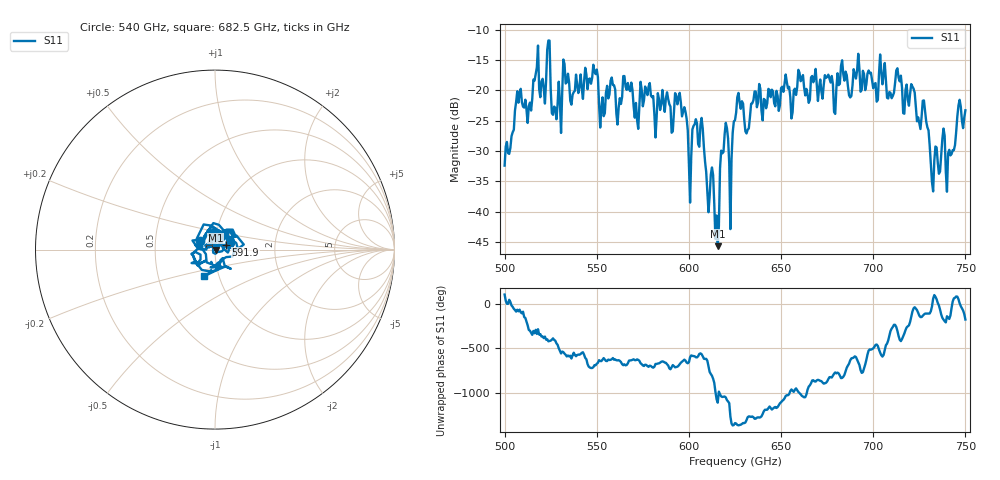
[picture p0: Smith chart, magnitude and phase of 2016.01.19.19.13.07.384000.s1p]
!Created with skrf (http://scikit-rf.org).
# GHz S RI R 50.0
!freq ReS11 ImS11
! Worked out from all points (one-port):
!   401 points, 500 GHz to 750 GHz, reference 50 ohm
!   lowest |S11| = -45.7 dB at 615.6 GHz (marker M1), VSWR 1.01, Z = 50.5 - j0.233 ohm
!   |S11| at or under -10 dB: start of sweep to end of sweep
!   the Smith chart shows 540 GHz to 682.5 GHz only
!   S11 on the Smith chart (normalised r, x): 540 GHz: 0.84, +0.08; 591.9 GHz: 1.13, +0.06; 682.5 GHz: 0.85, -0.26
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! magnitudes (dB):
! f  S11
! 500 GHz  -32.4
! 516.9 GHz  -17.3
! 520.6 GHz  -18.1
! 523.8 GHz  -11.8
! 526.9 GHz  -22.7
! 531.2 GHz  -20.3
! 540 GHz  -20.4
! 562.5 GHz  -21.3
! 565.6 GHz  -19.4
! 571.2 GHz  -22.1
! 577.5 GHz  -20.8
! 591.9 GHz  -23.7
! 593.8 GHz  -22.3
! 600.6 GHz  -38.5
! 603.1 GHz  -25.6
! 607.5 GHz  -26.3
! 610 GHz  -36.7
! 615.6 GHz  -45.7
! 618.8 GHz  -30.1
! 622.5 GHz  -42.9
! 625 GHz  -24.9
! 656.2 GHz  -23.6
! 682.5 GHz  -16.0
! 687.5 GHz  -21.2
! 718.8 GHz  -21.5
! 728.1 GHz  -23.3
! 731.9 GHz  -35.1
! 750 GHz  -23.3
